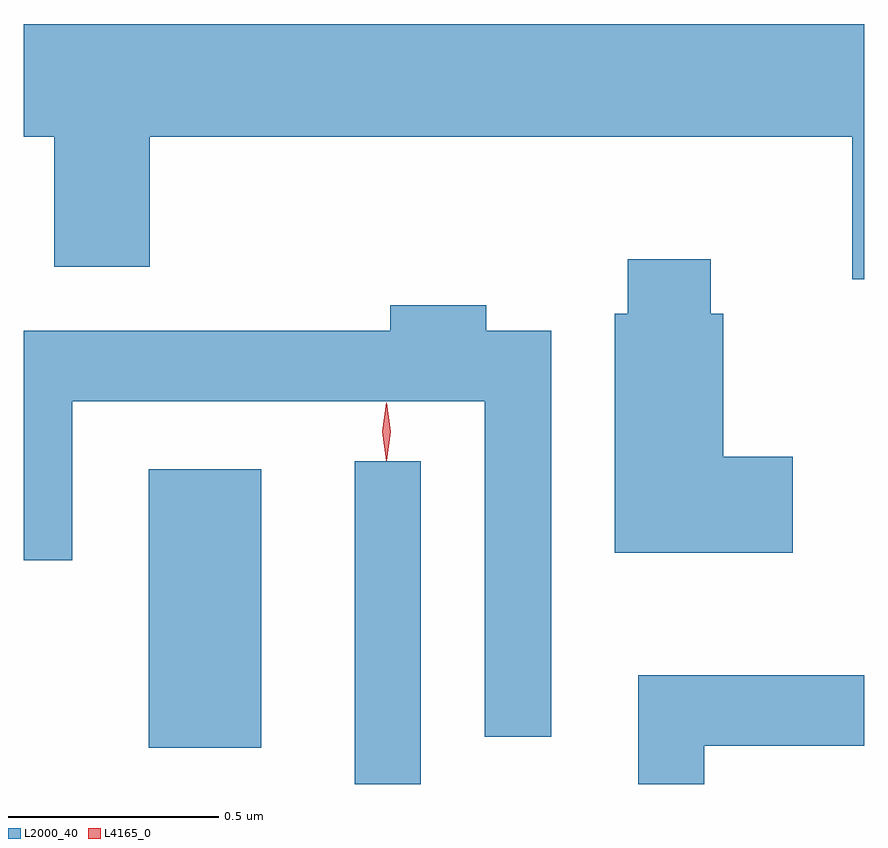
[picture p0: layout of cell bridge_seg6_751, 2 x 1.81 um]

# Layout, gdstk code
import gdstk
lib = gdstk.Library(unit=1e-6, precision=1e-09)
def R(c, l, rs):  # rectangles x0, y0, x1, y1
    for r in rs: c.add(gdstk.rectangle(r[:2], r[2:], *l))
def P(c, l, *ps):  # polygons
    for p in ps: c.add(gdstk.Polygon(p, *l))
L2000_40 = (2000, 40)
L4165_0 = (4165, 0)

bridge_seg6_751 = lib.new_cell('bridge_seg6_751')
R(bridge_seg6_751, L2000_40, [(486.966,1586.235,487.124,1587.003), (486.476,1586.321,486.744,1586.984)])
P(bridge_seg6_751, L2000_40, [(488.179,1588.044),(486.179,1588.044),(486.179,1587.776),(486.251,1587.776),(486.251,1587.466),(486.479,1587.466),(486.479,1587.776),(488.151,1587.776),(488.151,1587.436),(488.179,1587.436)],
  [(488.009,1587.014),(487.844,1587.014),(487.844,1587.354),(487.814,1587.354),(487.814,1587.484),(487.616,1587.484),(487.616,1587.354),(487.586,1587.354),(487.586,1586.786),(488.009,1586.786)],
  [(487.434,1587.314),(487.279,1587.314),(487.279,1587.374),(487.051,1587.374),(487.051,1587.314),(486.179,1587.314),(486.179,1586.768),(486.294,1586.768),(486.294,1587.146),(487.276,1587.146),(487.276,1586.348),(487.434,1586.348)],
  [(487.799,1586.326),(488.179,1586.326),(488.179,1586.494),(487.641,1586.494),(487.641,1586.235),(487.799,1586.235)])
P(bridge_seg6_751, L4165_0, [(487.042,1587.003),(487.042,1587.004),(487.032,1587.073),(487.042,1587.142),(487.042,1587.143),(487.043,1587.142),(487.052,1587.073),(487.043,1587.004)],
  [(487.042,1587.007),(487.042,1587.007),(487.032,1587.074),(487.042,1587.14),(487.042,1587.14),(487.043,1587.14),(487.052,1587.074),(487.043,1587.007)])

lib.write_gds('bridge_seg6_751.gds')
